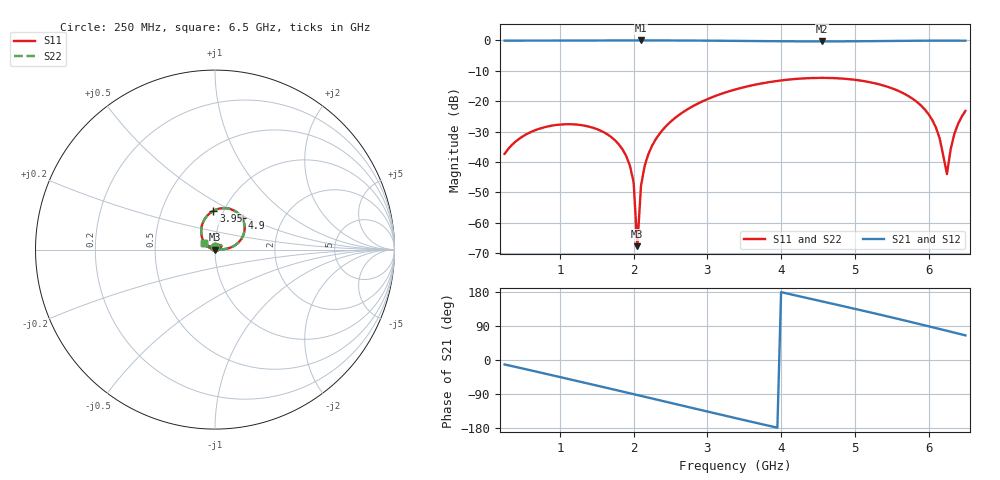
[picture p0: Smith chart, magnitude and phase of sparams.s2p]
! NobuRF kit-ro50-r2-thru: ports 1 "p1", 2 "p2"; 4300 + 4300 steps
# GHz S RI R 50
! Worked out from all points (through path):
!   126 points, 250 MHz to 6.5 GHz, reference 50 ohm
!   highest |S21| = 0.01 dB at 2.1 GHz (marker M1); lowest = -0.3 dB at 4.55 GHz (marker M2)
!   group delay of S21, straight-line fit = 125 ps
!   lowest |S11| = -67.7 dB at 2.05 GHz (marker M3), VSWR 1.00, Z = 50 - j0.0169 ohm
!   |S11| at or under -10 dB: start of sweep to end of sweep
!   |S22| runs from -67.7 to -12.3 dB; largest |S21 - S12| = 5.6e-08
!   S11 on the Smith chart (normalised r, x): 250 MHz: 1.00, +0.03; 3.95 GHz: 0.90, +0.41; 4.9 GHz: 1.25, +0.47; 6.5 GHz: 0.88, +0.06
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0.25  0.00151 0.0135  0.9732 -0.204  0.9732 -0.204  0.00151 0.0135
0.7  0.0179 0.0296  0.8481 -0.5211  0.8481 -0.5211  0.0179 0.0296
1.3  0.0348 0.0201  0.5226 -0.8504  0.5226 -0.8504  0.0348 0.0201
1.65  0.0274 0.00667  0.2716 -0.9624  0.2716 -0.9624  0.0274 0.00667
1.9  0.0125 0.000415  0.0769 -0.998  0.0769 -0.998  0.0125 0.000415
2  0.00461 -0.000299  -0.00266 -1.001  -0.00266 -1.001  0.00461 -0.000299
2.05  0.000374 -0.000169  -0.0425 -1  -0.0425 -1  0.000374 -0.000169
2.1  -0.00404 0.000317  -0.0823 -0.9978  -0.0823 -0.9978  -0.00404 0.000317
2.2  -0.0133 0.00243  -0.1616 -0.988  -0.1616 -0.988  -0.0133 0.00243
2.35  -0.0276 0.00864  -0.2784 -0.9612  -0.2784 -0.9612  -0.0276 0.00864
2.75  -0.0622 0.0438  -0.5646 -0.8221  -0.5646 -0.8221  -0.0622 0.0438
3.4  -0.0705 0.1421  -0.886 -0.4303  -0.886 -0.4303  -0.0705 0.1421
3.95  -0.00901 0.2157  -0.9723 -0.0221  -0.9723 -0.0221  -0.00901 0.2157
4.45  0.0813 0.2273  -0.904 0.3419  -0.904 0.3419  0.0813 0.2273
4.55  0.099 0.2211  -0.8751 0.41  -0.8751 0.41  0.099 0.2211
4.9  0.1485 0.1784  -0.7365 0.6297  -0.7365 0.6297  0.1485 0.1784
5.5  0.1503 0.0651  -0.3745 0.9079  -0.3745 0.9079  0.1503 0.0651
6  0.0611 0.00408  0.0172 0.9923  0.0172 0.9923  0.0611 0.00408
6.15  0.0246 0.0023  0.141 0.9837  0.141 0.9837  0.0246 0.0023
6.25  -0.000411 0.00629  0.2229 0.9686  0.2229 0.9686  -0.000411 0.00629
6.35  -0.0251 0.0145  0.3033 0.9461  0.3033 0.9461  -0.0251 0.0145
6.5  -0.0599 0.0346  0.4193 0.8986  0.4193 0.8986  -0.0599 0.0346
